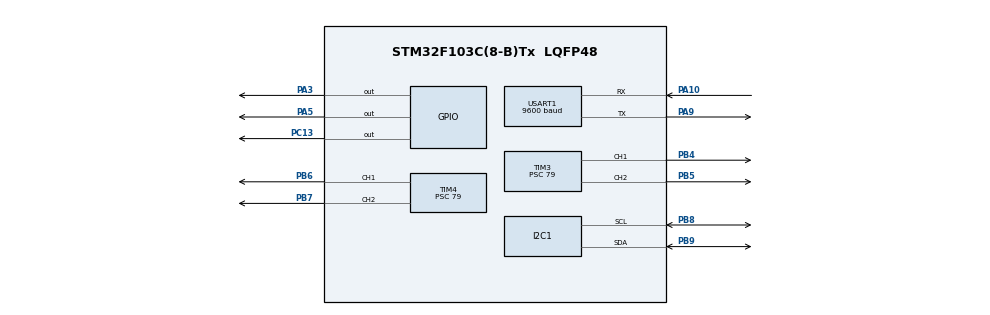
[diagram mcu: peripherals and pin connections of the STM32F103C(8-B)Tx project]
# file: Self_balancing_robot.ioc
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Mcu.Family=STM32F1
Mcu.Name=STM32F103C(8-B)Tx
Mcu.Package=LQFP48
NVIC.PriorityGroup=NVIC_PRIORITYGROUP_4
NVIC.TIM1_UP_IRQn=true\:0\:0\:false\:false\:true\:true\:true\:true
NVIC.USART1_IRQn=true\:0\:0\:false\:false\:true\:true\:true\:true
PA10.Mode=Asynchronous
PA10.Signal=USART1_RX
PA13.Mode=Serial_Wire
PA13.Signal=SYS_JTMS-SWDIO
PA14.Mode=Serial_Wire
PA14.Signal=SYS_JTCK-SWCLK
PA3.Signal=GPIO_Output
PA5.Signal=GPIO_Output
PA9.Mode=Asynchronous
PA9.Signal=USART1_TX
PB4.Signal=S_TIM3_CH1
PB5.Signal=S_TIM3_CH2
PB6.Signal=S_TIM4_CH1
PB7.Signal=S_TIM4_CH2
PB8.Mode=I2C
PB8.Signal=I2C1_SCL
PB9.Mode=I2C
PB9.Signal=I2C1_SDA
PC13-TAMPER-RTC.Signal=GPIO_Output
PD0-OSC_IN.Mode=HSE-External-Oscillator
PD0-OSC_IN.Signal=RCC_OSC_IN
PD1-OSC_OUT.Mode=HSE-External-Oscillator
PD1-OSC_OUT.Signal=RCC_OSC_OUT
ProjectManager.HeapSize=0x200
ProjectManager.StackSize=0x400
ProjectManager.TargetToolchain=STM32CubeIDE
RCC.AHBFreq_Value=8000000
RCC.APB1Freq_Value=8000000
RCC.APB1TimFreq_Value=8000000
RCC.APB2Freq_Value=8000000
RCC.APB2TimFreq_Value=8000000
RCC.HCLKFreq_Value=8000000
SH.S_TIM3_CH1.0=TIM3_CH1,PWM Generation1 CH1
SH.S_TIM3_CH2.0=TIM3_CH2,PWM Generation2 CH2
SH.S_TIM4_CH1.0=TIM4_CH1,PWM Generation1 CH1
SH.S_TIM4_CH2.0=TIM4_CH2,PWM Generation2 CH2
TIM1.Period=99
TIM1.Prescaler=799
TIM3.Channel-PWM\ Generation1\ CH1=TIM_CHANNEL_1
TIM3.Channel-PWM\ Generation2\ CH2=TIM_CHANNEL_2
TIM3.Period=1999
TIM3.Prescaler=79
TIM4.Channel-PWM\ Generation1\ CH1=TIM_CHANNEL_1
TIM4.Channel-PWM\ Generation2\ CH2=TIM_CHANNEL_2
TIM4.Period=1999
TIM4.Prescaler=79
USART1.BaudRate=9600
USART1.VirtualMode=VM_ASYNC
VP_TIM1_VS_ClockSourceINT.Mode=Internal
board=custom

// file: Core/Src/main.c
/* USER CODE BEGIN Header */
/**
  ******************************************************************************
  * @file           : main.c
  * @brief          : Main program body
  ******************************************************************************
  * @attention
  *
  * <h2><center>&copy; Copyright (c) 2023 STMicroelectronics.
  * All rights reserved.</center></h2>
  *
  * This software component is licensed by ST under BSD 3-Clause license,
  * the "License"; You may not use this file except in compliance with the
  * License. You may obtain a copy of the License at:
  *                        opensource.org/licenses/BSD-3-Clause
  *
  ******************************************************************************
  */
/* USER CODE END Header */
#include "main.h"

/* USER CODE BEGIN Includes */
#include <mpu6050.h>
#include <motor.h>
#include <string.h>
#include <stdio.h>
/* USER CODE END Includes */

/* USER CODE BEGIN PM */
#define FRAME  "\n%s%06d %s%06d %s%06d \r"
#define SIGN(X) ((X)>=0)?" ":"-"
#define ABS(X) ((X)>=0)?((X)):(-(X))
/* USER CODE END PM */

I2C_HandleTypeDef hi2c1;
TIM_HandleTypeDef htim1;
TIM_HandleTypeDef htim3;
TIM_HandleTypeDef htim4;
UART_HandleTypeDef huart1;

/* USER CODE BEGIN PV */
	MPU6050_t	t_MPU6050;

	Fuzzy_t		t_fuzzy = {
			.f_K_theta = K_THETA,
			.f_K_theta_dot = K_THETA_DOT,
	};

	uint8_t		u8_flag_10ms = 0;
	char data[100];
	float pre_theta = 0;

/* USER CODE END PV */

void SystemClock_Config(void);
static void MX_GPIO_Init(void);
static void MX_I2C1_Init(void);
static void MX_TIM1_Init(void);
static void MX_TIM3_Init(void);
static void MX_TIM4_Init(void);
static void MX_USART1_UART_Init(void);

/* USER CODE BEGIN 0 */
void HAL_TIM_PeriodElapsedCallback(TIM_HandleTypeDef *htim) // timer1 interrupted 10 ms
{
	if(htim->Instance==TIM1)
	{
		u8_flag_10ms = 1;
	}
}

//void HAL_UART_RxCpltCallback(UART_HandleTypeDef *huart)
//{
//	  HAL_UART_Transmit_IT(&huart1,(uint8_t*)data, strlen(data));
//}

/* USER CODE END 0 */

int main(void)
{

  /* MCU Configuration--------------------------------------------------------*/

  /* Reset of all peripherals, Initializes the Flash interface and the Systick. */
  HAL_Init();

  /* USER CODE BEGIN Init */
	 SBR1_init();
  /* USER CODE END Init */

  /* Configure the system clock */
  SystemClock_Config();

  /* Initialize all configured peripherals */
  MX_GPIO_Init();
  MX_I2C1_Init();
  MX_TIM1_Init();
  MX_TIM3_Init();
  MX_TIM4_Init();
  MX_USART1_UART_Init();
  /* USER CODE BEGIN 2 */
  HAL_TIM_Base_Start_IT(&htim1);
  Init_tim_pwm();
//  HAL_UART_Transmit_IT(&huart1,(uint8_t*)data, 20);

  while (MPU6050_Init(&hi2c1) == 1); // if mpu6050 identified, mcu will escape while loop

  /* USER CODE END 2 */

  /* Infinite loop */
  while (1)
  {

    /* USER CODE BEGIN 3 */
	  //These parameters in motor.h and SBR1_fis.c need to be tuned belong to your robot
	  if (u8_flag_10ms)
	  {
		  u8_flag_10ms = 0;
		  //parameters after Kalman filter
		  MPU6050_Read_All(&hi2c1,&t_MPU6050);
		  Controller (t_MPU6050.KalmanAngleY, t_MPU6050.Gy* RAD_TO_DEG, &t_fuzzy);
		  int theta = t_MPU6050.KalmanAngleY*1000.0;
		  int theta_dot = t_MPU6050.Gy* RAD_TO_DEG*1000.0;
		  int uk = t_fuzzy.f_out_fuzzy;
		  sprintf(data,FRAME,SIGN(theta),ABS(theta),SIGN(theta_dot),ABS(theta_dot),SIGN(uk),ABS(uk));
		  HAL_UART_Transmit(&huart1,(uint8_t*)data, strlen(data),9);
	  }

  }
  /* USER CODE END 3 */
}

void SystemClock_Config(void)
{
  RCC_OscInitTypeDef RCC_OscInitStruct = {0};
  RCC_ClkInitTypeDef RCC_ClkInitStruct = {0};

  /** Initializes the RCC Oscillators according to the specified parameters
  * in the RCC_OscInitTypeDef structure.
  */
  RCC_OscInitStruct.OscillatorType = RCC_OSCILLATORTYPE_HSI;
  RCC_OscInitStruct.HSIState = RCC_HSI_ON;
  RCC_OscInitStruct.HSICalibrationValue = RCC_HSICALIBRATION_DEFAULT;
  RCC_OscInitStruct.PLL.PLLState = RCC_PLL_NONE;
  if (HAL_RCC_OscConfig(&RCC_OscInitStruct) != HAL_OK)
  {
    Error_Handler();
  }

  /** Initializes the CPU, AHB and APB buses clocks
  */
  RCC_ClkInitStruct.ClockType = RCC_CLOCKTYPE_HCLK|RCC_CLOCKTYPE_SYSCLK
                              |RCC_CLOCKTYPE_PCLK1|RCC_CLOCKTYPE_PCLK2;
  RCC_ClkInitStruct.SYSCLKSource = RCC_SYSCLKSOURCE_HSI;
  RCC_ClkInitStruct.AHBCLKDivider = RCC_SYSCLK_DIV1;
  RCC_ClkInitStruct.APB1CLKDivider = RCC_HCLK_DIV1;
  RCC_ClkInitStruct.APB2CLKDivider = RCC_HCLK_DIV1;

  if (HAL_RCC_ClockConfig(&RCC_ClkInitStruct, FLASH_LATENCY_0) != HAL_OK)
  {
    Error_Handler();
  }
}

static void MX_I2C1_Init(void)
{

  hi2c1.Instance = I2C1;
  hi2c1.Init.ClockSpeed = 100000;
  hi2c1.Init.DutyCycle = I2C_DUTYCYCLE_2;
  hi2c1.Init.OwnAddress1 = 0;
  hi2c1.Init.AddressingMode = I2C_ADDRESSINGMODE_7BIT;
  hi2c1.Init.DualAddressMode = I2C_DUALADDRESS_DISABLE;
  hi2c1.Init.OwnAddress2 = 0;
  hi2c1.Init.GeneralCallMode = I2C_GENERALCALL_DISABLE;
  hi2c1.Init.NoStretchMode = I2C_NOSTRETCH_DISABLE;
  if (HAL_I2C_Init(&hi2c1) != HAL_OK)
  {
    Error_Handler();
  }

}

static void MX_TIM1_Init(void)
{

  TIM_ClockConfigTypeDef sClockSourceConfig = {0};
  TIM_MasterConfigTypeDef sMasterConfig = {0};

  htim1.Instance = TIM1;
  htim1.Init.Prescaler = 799;
  htim1.Init.CounterMode = TIM_COUNTERMODE_UP;
  htim1.Init.Period = 99;
  htim1.Init.ClockDivision = TIM_CLOCKDIVISION_DIV1;
  htim1.Init.RepetitionCounter = 0;
  htim1.Init.AutoReloadPreload = TIM_AUTORELOAD_PRELOAD_DISABLE;
  if (HAL_TIM_Base_Init(&htim1) != HAL_OK)
  {
    Error_Handler();
  }
  sClockSourceConfig.ClockSource = TIM_CLOCKSOURCE_INTERNAL;
  if (HAL_TIM_ConfigClockSource(&htim1, &sClockSourceConfig) != HAL_OK)
  {
    Error_Handler();
  }
  sMasterConfig.MasterOutputTrigger = TIM_TRGO_RESET;
  sMasterConfig.MasterSlaveMode = TIM_MASTERSLAVEMODE_DISABLE;
  if (HAL_TIMEx_MasterConfigSynchronization(&htim1, &sMasterConfig) != HAL_OK)
  {
    Error_Handler();
  }

}

static void MX_TIM3_Init(void)
{

  TIM_MasterConfigTypeDef sMasterConfig = {0};
  TIM_OC_InitTypeDef sConfigOC = {0};

  htim3.Instance = TIM3;
  htim3.Init.Prescaler = 79;
  htim3.Init.CounterMode = TIM_COUNTERMODE_UP;
  htim3.Init.Period = 1999;
  htim3.Init.ClockDivision = TIM_CLOCKDIVISION_DIV1;
  htim3.Init.AutoReloadPreload = TIM_AUTORELOAD_PRELOAD_DISABLE;
  if (HAL_TIM_PWM_Init(&htim3) != HAL_OK)
  {
    Error_Handler();
  }
  sMasterConfig.MasterOutputTrigger = TIM_TRGO_RESET;
  sMasterConfig.MasterSlaveMode = TIM_MASTERSLAVEMODE_DISABLE;
  if (HAL_TIMEx_MasterConfigSynchronization(&htim3, &sMasterConfig) != HAL_OK)
  {
    Error_Handler();
  }
  sConfigOC.OCMode = TIM_OCMODE_PWM1;
  sConfigOC.Pulse = 0;
  sConfigOC.OCPolarity = TIM_OCPOLARITY_HIGH;
  sConfigOC.OCFastMode = TIM_OCFAST_DISABLE;
  if (HAL_TIM_PWM_ConfigChannel(&htim3, &sConfigOC, TIM_CHANNEL_1) != HAL_OK)
  {
    Error_Handler();
  }
  if (HAL_TIM_PWM_ConfigChannel(&htim3, &sConfigOC, TIM_CHANNEL_2) != HAL_OK)
  {
    Error_Handler();
  }
  HAL_TIM_MspPostInit(&htim3);

}

static void MX_TIM4_Init(void)
{

  TIM_MasterConfigTypeDef sMasterConfig = {0};
  TIM_OC_InitTypeDef sConfigOC = {0};

  htim4.Instance = TIM4;
  htim4.Init.Prescaler = 79;
  htim4.Init.CounterMode = TIM_COUNTERMODE_UP;
  htim4.Init.Period = 1999;
  htim4.Init.ClockDivision = TIM_CLOCKDIVISION_DIV1;
  htim4.Init.AutoReloadPreload = TIM_AUTORELOAD_PRELOAD_DISABLE;
  if (HAL_TIM_PWM_Init(&htim4) != HAL_OK)
  {
    Error_Handler();
  }
  sMasterConfig.MasterOutputTrigger = TIM_TRGO_RESET;
  sMasterConfig.MasterSlaveMode = TIM_MASTERSLAVEMODE_DISABLE;
  if (HAL_TIMEx_MasterConfigSynchronization(&htim4, &sMasterConfig) != HAL_OK)
  {
    Error_Handler();
  }
  sConfigOC.OCMode = TIM_OCMODE_PWM1;
  sConfigOC.Pulse = 0;
  sConfigOC.OCPolarity = TIM_OCPOLARITY_HIGH;
  sConfigOC.OCFastMode = TIM_OCFAST_DISABLE;
  if (HAL_TIM_PWM_ConfigChannel(&htim4, &sConfigOC, TIM_CHANNEL_1) != HAL_OK)
  {
    Error_Handler();
  }
  if (HAL_TIM_PWM_ConfigChannel(&htim4, &sConfigOC, TIM_CHANNEL_2) != HAL_OK)
  {
    Error_Handler();
  }
  HAL_TIM_MspPostInit(&htim4);

}

static void MX_USART1_UART_Init(void)
{

  huart1.Instance = USART1;
  huart1.Init.BaudRate = 9600;
  huart1.Init.WordLength = UART_WORDLENGTH_8B;
  huart1.Init.StopBits = UART_STOPBITS_1;
  huart1.Init.Parity = UART_PARITY_NONE;
  huart1.Init.Mode = UART_MODE_TX_RX;
  huart1.Init.HwFlowCtl = UART_HWCONTROL_NONE;
  huart1.Init.OverSampling = UART_OVERSAMPLING_16;
  if (HAL_UART_Init(&huart1) != HAL_OK)
  {
    Error_Handler();
  }

}

static void MX_GPIO_Init(void)
{
  GPIO_InitTypeDef GPIO_InitStruct = {0};

  /* GPIO Ports Clock Enable */
  __HAL_RCC_GPIOC_CLK_ENABLE();
  __HAL_RCC_GPIOD_CLK_ENABLE();
  __HAL_RCC_GPIOA_CLK_ENABLE();
  __HAL_RCC_GPIOB_CLK_ENABLE();

  /*Configure GPIO pin Output Level */
  HAL_GPIO_WritePin(GPIOC, GPIO_PIN_13, GPIO_PIN_RESET);

  /*Configure GPIO pin Output Level */
  HAL_GPIO_WritePin(GPIOA, GPIO_PIN_3|GPIO_PIN_5, GPIO_PIN_RESET);

  /*Configure GPIO pin : PC13 */
  GPIO_InitStruct.Pin = GPIO_PIN_13;
  GPIO_InitStruct.Mode = GPIO_MODE_OUTPUT_PP;
  GPIO_InitStruct.Pull = GPIO_NOPULL;
  GPIO_InitStruct.Speed = GPIO_SPEED_FREQ_LOW;
  HAL_GPIO_Init(GPIOC, &GPIO_InitStruct);

  /*Configure GPIO pins : PA3 PA5 */
  GPIO_InitStruct.Pin = GPIO_PIN_3|GPIO_PIN_5;
  GPIO_InitStruct.Mode = GPIO_MODE_OUTPUT_PP;
  GPIO_InitStruct.Pull = GPIO_NOPULL;
  GPIO_InitStruct.Speed = GPIO_SPEED_FREQ_LOW;
  HAL_GPIO_Init(GPIOA, &GPIO_InitStruct);

}

void Error_Handler(void)
{
  __disable_irq();
  while (1)
  {
  }
}
